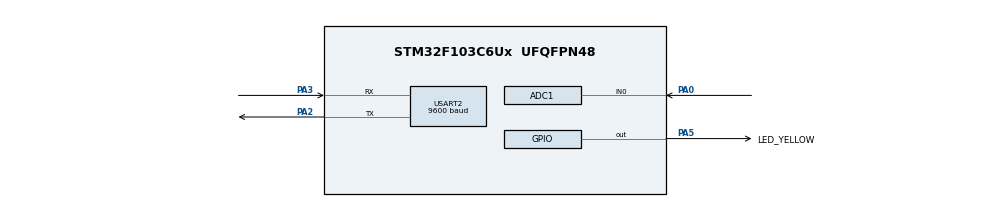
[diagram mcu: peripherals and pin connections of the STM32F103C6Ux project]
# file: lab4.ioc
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ADC1.Channel-0\#ChannelRegularConversion=ADC_CHANNEL_0
ADC1.ContinuousConvMode=ENABLE
ADC1.NbrOfConversionFlag=1
ADC1.Rank-0\#ChannelRegularConversion=1
ADC1.SamplingTime-0\#ChannelRegularConversion=ADC_SAMPLETIME_1CYCLE_5
ADC1.master=1
Mcu.Family=STM32F1
Mcu.Name=STM32F103C6Ux
Mcu.Package=UFQFPN48
NVIC.PriorityGroup=NVIC_PRIORITYGROUP_4
NVIC.TIM2_IRQn=true\:0\:0\:false\:false\:true\:true\:true
NVIC.USART2_IRQn=true\:0\:0\:false\:false\:true\:true\:true
PA0-WKUP.Signal=ADCx_IN0
PA2.Mode=Asynchronous
PA2.Signal=USART2_TX
PA3.Mode=Asynchronous
PA3.Signal=USART2_RX
PA5.GPIO_Label=LED_YELLOW
PA5.Signal=GPIO_Output
PA6.Signal=S_TIM3_CH1
ProjectManager.HeapSize=0x200
ProjectManager.StackSize=0x400
ProjectManager.TargetToolchain=STM32CubeIDE
RCC.APB1Freq_Value=8000000
RCC.APB2Freq_Value=8000000
SH.ADCx_IN0.0=ADC1_IN0,IN0
SH.S_TIM3_CH1.0=TIM3_CH1
TIM2.Period=10
TIM2.Prescaler=7999
USART2.BaudRate=9600
USART2.VirtualMode=VM_ASYNC
VP_SYS_VS_ND.Mode=No_Debug
VP_TIM2_VS_ClockSourceINT.Mode=Internal
board=custom

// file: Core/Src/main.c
/* USER CODE BEGIN Header */
/**
  ******************************************************************************
  * @file           : main.c
  * @brief          : Main program body
  ******************************************************************************
  * @attention
  *
  * <h2><center>&copy; Copyright (c) 2023 STMicroelectronics.
  * All rights reserved.</center></h2>
  *
  * This software component is licensed by ST under BSD 3-Clause license,
  * the "License"; You may not use this file except in compliance with the
  * License. You may obtain a copy of the License at:
  *                        opensource.org/licenses/BSD-3-Clause
  *
  ******************************************************************************
  */
/* USER CODE END Header */
#include "main.h"

/* USER CODE BEGIN Includes */
#include <stdio.h>
#include "fsm.h"
/* USER CODE END Includes */

ADC_HandleTypeDef hadc1;

TIM_HandleTypeDef htim2;

UART_HandleTypeDef huart2;

void SystemClock_Config(void);
static void MX_GPIO_Init(void);
static void MX_ADC1_Init(void);
static void MX_USART2_UART_Init(void);
static void MX_TIM2_Init(void);

/* USER CODE BEGIN 0 */
void HAL_UART_RxCpltCallback(UART_HandleTypeDef *huart) {
  if (huart->Instance==USART2) {
	  HAL_UART_Transmit (&huart2 , &temp , 1 , 50) ;
	  buffer[index_buffer++]=temp;
	  if (index_buffer >= MAX_BUFFER_SIZE)
		  index_buffer=0;
	  buffer_flag=1;
	  HAL_UART_Receive_IT(&huart2, &temp, 1);
  }
}

/* USER CODE END 0 */

int main(void)
{

  /* MCU Configuration--------------------------------------------------------*/

  /* Reset of all peripherals, Initializes the Flash interface and the Systick. */
  HAL_Init();

  /* Configure the system clock */
  SystemClock_Config();

  /* Initialize all configured peripherals */
  MX_GPIO_Init();
  MX_ADC1_Init();
  MX_USART2_UART_Init();
  MX_TIM2_Init();
  /* USER CODE BEGIN 2 */
  MX_GPIO_Init();
  MX_ADC1_Init();
  MX_USART2_UART_Init();
  MX_TIM2_Init();
  HAL_TIM_Base_Start_IT (&htim2) ;
  HAL_UART_Receive_IT(&huart2, &temp, 1);
  /* USER CODE END 2 */

  /* Infinite loop */
  /* USER CODE BEGIN WHILE */

  setTimer1(100);
  while (1)
  {
	  if (buffer_flag==1) {
	  	  command_parser_fsm();
	  	  buffer_flag=0;
	  }
	  uart_communication_fsm();

    /* USER CODE END WHILE */

  }
}

void SystemClock_Config(void)
{
  RCC_OscInitTypeDef RCC_OscInitStruct = {0};
  RCC_ClkInitTypeDef RCC_ClkInitStruct = {0};
  RCC_PeriphCLKInitTypeDef PeriphClkInit = {0};

  /** Initializes the RCC Oscillators according to the specified parameters
  * in the RCC_OscInitTypeDef structure.
  */
  RCC_OscInitStruct.OscillatorType = RCC_OSCILLATORTYPE_HSI;
  RCC_OscInitStruct.HSIState = RCC_HSI_ON;
  RCC_OscInitStruct.HSICalibrationValue = RCC_HSICALIBRATION_DEFAULT;
  RCC_OscInitStruct.PLL.PLLState = RCC_PLL_NONE;
  if (HAL_RCC_OscConfig(&RCC_OscInitStruct) != HAL_OK)
  {
    Error_Handler();
  }
  /** Initializes the CPU, AHB and APB buses clocks
  */
  RCC_ClkInitStruct.ClockType = RCC_CLOCKTYPE_HCLK|RCC_CLOCKTYPE_SYSCLK
                              |RCC_CLOCKTYPE_PCLK1|RCC_CLOCKTYPE_PCLK2;
  RCC_ClkInitStruct.SYSCLKSource = RCC_SYSCLKSOURCE_HSI;
  RCC_ClkInitStruct.AHBCLKDivider = RCC_SYSCLK_DIV1;
  RCC_ClkInitStruct.APB1CLKDivider = RCC_HCLK_DIV1;
  RCC_ClkInitStruct.APB2CLKDivider = RCC_HCLK_DIV1;

  if (HAL_RCC_ClockConfig(&RCC_ClkInitStruct, FLASH_LATENCY_0) != HAL_OK)
  {
    Error_Handler();
  }
  PeriphClkInit.PeriphClockSelection = RCC_PERIPHCLK_ADC;
  PeriphClkInit.AdcClockSelection = RCC_ADCPCLK2_DIV2;
  if (HAL_RCCEx_PeriphCLKConfig(&PeriphClkInit) != HAL_OK)
  {
    Error_Handler();
  }
}

static void MX_ADC1_Init(void)
{

  ADC_ChannelConfTypeDef sConfig = {0};

  /** Common config
  */
  hadc1.Instance = ADC1;
  hadc1.Init.ScanConvMode = ADC_SCAN_DISABLE;
  hadc1.Init.ContinuousConvMode = ENABLE;
  hadc1.Init.DiscontinuousConvMode = DISABLE;
  hadc1.Init.ExternalTrigConv = ADC_SOFTWARE_START;
  hadc1.Init.DataAlign = ADC_DATAALIGN_RIGHT;
  hadc1.Init.NbrOfConversion = 1;
  if (HAL_ADC_Init(&hadc1) != HAL_OK)
  {
    Error_Handler();
  }
  /** Configure Regular Channel
  */
  sConfig.Channel = ADC_CHANNEL_0;
  sConfig.Rank = ADC_REGULAR_RANK_1;
  sConfig.SamplingTime = ADC_SAMPLETIME_1CYCLE_5;
  if (HAL_ADC_ConfigChannel(&hadc1, &sConfig) != HAL_OK)
  {
    Error_Handler();
  }

}

static void MX_TIM2_Init(void)
{

  TIM_ClockConfigTypeDef sClockSourceConfig = {0};
  TIM_MasterConfigTypeDef sMasterConfig = {0};

  htim2.Instance = TIM2;
  htim2.Init.Prescaler = 7999;
  htim2.Init.CounterMode = TIM_COUNTERMODE_UP;
  htim2.Init.Period = 10;
  htim2.Init.ClockDivision = TIM_CLOCKDIVISION_DIV1;
  htim2.Init.AutoReloadPreload = TIM_AUTORELOAD_PRELOAD_DISABLE;
  if (HAL_TIM_Base_Init(&htim2) != HAL_OK)
  {
    Error_Handler();
  }
  sClockSourceConfig.ClockSource = TIM_CLOCKSOURCE_INTERNAL;
  if (HAL_TIM_ConfigClockSource(&htim2, &sClockSourceConfig) != HAL_OK)
  {
    Error_Handler();
  }
  sMasterConfig.MasterOutputTrigger = TIM_TRGO_RESET;
  sMasterConfig.MasterSlaveMode = TIM_MASTERSLAVEMODE_DISABLE;
  if (HAL_TIMEx_MasterConfigSynchronization(&htim2, &sMasterConfig) != HAL_OK)
  {
    Error_Handler();
  }

}

static void MX_USART2_UART_Init(void)
{

  huart2.Instance = USART2;
  huart2.Init.BaudRate = 9600;
  huart2.Init.WordLength = UART_WORDLENGTH_8B;
  huart2.Init.StopBits = UART_STOPBITS_1;
  huart2.Init.Parity = UART_PARITY_NONE;
  huart2.Init.Mode = UART_MODE_TX_RX;
  huart2.Init.HwFlowCtl = UART_HWCONTROL_NONE;
  huart2.Init.OverSampling = UART_OVERSAMPLING_16;
  if (HAL_UART_Init(&huart2) != HAL_OK)
  {
    Error_Handler();
  }

}

static void MX_GPIO_Init(void)
{
  GPIO_InitTypeDef GPIO_InitStruct = {0};

  /* GPIO Ports Clock Enable */
  __HAL_RCC_GPIOA_CLK_ENABLE();

  /*Configure GPIO pin Output Level */
  HAL_GPIO_WritePin(LED_YELLOW_GPIO_Port, LED_YELLOW_Pin, GPIO_PIN_RESET);

  /*Configure GPIO pin : LED_YELLOW_Pin */
  GPIO_InitStruct.Pin = LED_YELLOW_Pin;
  GPIO_InitStruct.Mode = GPIO_MODE_OUTPUT_PP;
  GPIO_InitStruct.Pull = GPIO_NOPULL;
  GPIO_InitStruct.Speed = GPIO_SPEED_FREQ_LOW;
  HAL_GPIO_Init(LED_YELLOW_GPIO_Port, &GPIO_InitStruct);

  /*Configure GPIO pin : PA6 */
  GPIO_InitStruct.Pin = GPIO_PIN_6;
  GPIO_InitStruct.Mode = GPIO_MODE_AF_PP;
  GPIO_InitStruct.Speed = GPIO_SPEED_FREQ_LOW;
  HAL_GPIO_Init(GPIOA, &GPIO_InitStruct);

}

/* USER CODE BEGIN 4 */
void HAL_TIM_PeriodElapsedCallback(TIM_HandleTypeDef *htim) {
	timerRun();
}
/* USER CODE END 4 */

void Error_Handler(void)
{
  __disable_irq();
  while (1)
  {
  }
}

/************************ (C) COPYRIGHT STMicroelectronics *****END OF FILE****/
